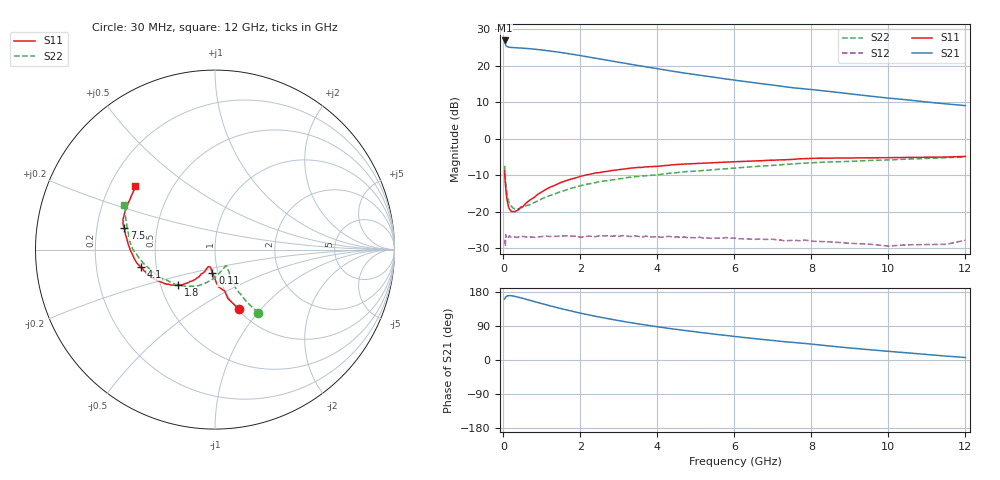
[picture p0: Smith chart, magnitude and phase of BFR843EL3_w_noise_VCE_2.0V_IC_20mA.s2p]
! Infineon Technologies  Discrete & RF Semiconductors
! BFR843EL3
! VCE =  2.0 V,  IC =  20 mA
! Common Emitter S-Parameters:  Aug 2013
# GHz  S  MA  R  50
!  f  S11  S21  S12  S22
! GHz  MAG  ANG  MAG  ANG  MAG  ANG  MAG  ANG
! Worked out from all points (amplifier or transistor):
!   103 points, 30 MHz to 12 GHz, reference 50 ohm
!   highest |S21| = 27.0 dB at 30 MHz (marker M1)
!   |S21| within 3 dB of that: start of sweep to 1.281 GHz
!   unconditionally stable (mu >= 1): 225.2 MHz to 460.6 MHz; 4.014 GHz to end of sweep
!   at 400 MHz: K = 1.00, MAG = 25.8 dB, |S12| = -26.9 dB
!   at 3.7 GHz: K = 0.96, MSG = 23.2 dB, |S12| = -26.7 dB
!   at 12 GHz: K = 2.12, MAG = 12.5 dB, |S12| = -27.9 dB
!   lowest NFmin = 1.09 dB at 900 MHz
!   S11 on the Smith chart (normalised r, x): 30 MHz: 1.01, -0.77; 110 MHz: 0.94, -0.25; 1.8 GHz: 0.62, -0.26; 4.1 GHz: 0.41, -0.10; 7.5 GHz: 0.32, +0.11; 12 GHz: 0.30, +0.32
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0.03  0.359 -67.9  22.36 160.8  0.0385 24.1  0.4264 -55.7
0.04  0.2836 -75.1  20.79 162.6  0.0406 21.1  0.3384 -58.8
0.06  0.2083 -84.7  19.22 166.0  0.0482 19.6  0.2464 -61.9
0.08  0.1643 -89.7  18.64 168.0  0.0445 11.9  0.1957 -61.2
0.11  0.1312 -96.2  18.26 169.4  0.0458 8.4  0.1582 -59.3
0.15  0.11 -100.6  18.06 170.0  0.0465 7.5  0.133 -57.2
0.25  0.1001 -108.6  17.87 168.9  0.0445 4.9  0.1118 -55.0
0.7  0.1457 -116.9  17.2 157.1  0.045 2.7  0.1249 -74.9
1.2  0.2157 -126.0  16.03 143.3  0.0456 1.4  0.1657 -94.8
1.5  0.2525 -131.3  15.27 135.6  0.0461 3.0  0.1899 -104.6
1.8  0.2836 -136.3  14.41 128.3  0.0461 2.3  0.2122 -112.1
2.1  0.3147 -141.0  13.56 121.4  0.0454 3.0  0.234 -119.5
2.6  0.3521 -149.1  12.21 111.2  0.0467 0.5  0.2626 -129.0
3.1  0.3826 -155.6  11.01 102.1  0.047 1.5  0.2857 -136.8
3.5  0.4044 -160.8  10.11 95.4  0.0458 0.8  0.3041 -142.7
4.1  0.424 -166.8  8.983 86.2  0.0443 0.1  0.3249 -149.0
5.1  0.46 -176.4  7.447 72.9  0.0446 1.1  0.3629 -159.7
6.1  0.4865 175.9  6.278 61.1  0.0425 2.0  0.4007 -168.0
7.5  0.5208 166.4  5.032 46.6  0.0403 3.4  0.4516 -178.8
8.5  0.5434 158.1  4.44 36.6  0.0385 4.0  0.4814 173.0
10.5  0.5545 147.0  3.418 18.8  0.0351 19.0  0.5261 161.0
12  0.5724 141.4  2.853 6.6  0.0405 32.0  0.5627 153.9
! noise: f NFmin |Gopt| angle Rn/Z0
0.45  1.1  0.09  143  0.13
0.9  1.09  0.1  141  0.12
1.5  1.11  0.11  142  0.11
1.9  1.12  0.11  145  0.11
2.4  1.13  0.12  148  0.1
3.5  1.15  0.15  156  0.1
5.5  1.18  0.21  176  0.1
8  1.22  0.32  197  0.08
10  1.25  0.45  220  0.08
